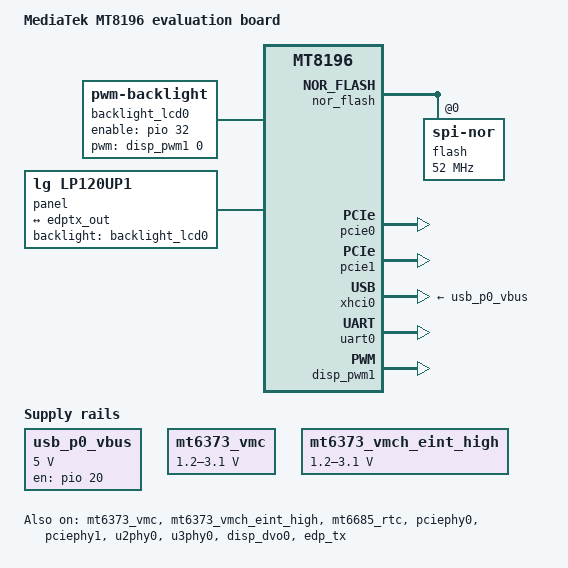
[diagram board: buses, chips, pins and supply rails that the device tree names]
// SPDX-License-Identifier: (GPL-2.0 OR MIT)
/*
 * Copyright (C) 2021 MediaTek Inc.
 * Author: Seiya Wang <seiya.wang@mediatek.com>
 */
/dts-v1/;
#include "mt8196.dtsi"
#include "mt6316.dtsi"
#include "mt6363.dtsi"
#include "mt6373.dtsi"
#include "mt6685.dtsi"
#include <dt-bindings/gpio/gpio.h>

/ {
	model = "MediaTek MT8196 evaluation board";
	compatible = "mediatek,mt8196-evb", "mediatek,mt8196";

	backlight_lcd0: backlight-lcd0 {
		compatible = "pwm-backlight";
		brightness-levels = <0 1023>;
		default-brightness-level = <576>;
		enable-gpios = <&pio 32 GPIO_ACTIVE_HIGH>;
		num-interpolated-steps = <1023>;
		pwms = <&disp_pwm1 0 500000>;
	};

	/* chosen */
	chosen: chosen {
		stdout-path = "serial0:115200n8";
	};

	panel: panel {
		compatible = "lg,lp120up1";
		pinctrl-names = "default";
		pinctrl-0 = <&panel_fixed_pins>;
		backlight = <&backlight_lcd0>;

		port {
			panel_edp_in: endpoint {
				remote-endpoint = <&edptx_out>;
			};
		};
	};

	usb_p0_vbus: regulator@0 {
		compatible = "regulator-fixed";
		regulator-name = "vbus";
		regulator-min-microvolt = <5000000>;
		regulator-max-microvolt = <5000000>;
		gpio = <&pio 20 GPIO_ACTIVE_HIGH>;
		enable-active-high;
	};
};

&main_pmic {
	pmic-lvsys-notify {
		compatible = "mediatek,mt6363-lvsys-notify";
	};
};

&mt6363_vbuck1 {
	regulator-always-on;
};

&mt6363_vbuck2 {
	regulator-always-on;
};

&mt6363_vbuck4 {
	regulator-always-on;
};

&mt6363_vbuck5 {
	regulator-always-on;
};

&mt6363_vbuck6 {
	regulator-always-on;
};

&mt6363_vsram_digrf {
	regulator-always-on;
};

&mt6363_vsram_modem {
	regulator-always-on;
};

&mt6363_vsram_cpub {
	regulator-always-on;
};

&mt6363_vsram_cpul {
	regulator-always-on;
};

&mt6363_vsram_apu {
	regulator-always-on;
};

&mt6363_vsram_mdfe {
	regulator-always-on;
};

&mt6363_vcn15 {
	regulator-always-on;
};

&mt6363_vemc {
	regulator-always-on;
};

&mt6363_vufs12 {
	regulator-always-on;
};

&mt6363_vufs18 {
	regulator-always-on;
};

&mt6363_vm18 {
	regulator-always-on;
};

&mt6363_vrf12 {
	regulator-always-on;
};

&mt6373_vbuck2 {
	regulator-always-on;
};

&mt6373_vbuck4 {
	regulator-always-on;
};

&mt6373_vbuck5 {
	regulator-always-on;
};

&mt6373_vbuck6 {
	regulator-always-on;
};

&mt6373_vbuck7 {
	regulator-always-on;
};

&mt6373_vbuck0 {
	/delete-property/ regulator-always-on;
};

&mt6373_vbuck8 {
	/delete-property/ regulator-always-on;
};

&mt6373_vbuck4_ufs {
	status = "disabled";
};

&mt6373_vmc {
	regulator-min-microvolt = <1200000>;
	regulator-max-microvolt = <3100000>;
	status = "okay";
};

&mt6373_vmch_eint_high {
	regulator-min-microvolt = <1200000>;
	regulator-max-microvolt = <3100000>;
	status = "okay";
};

&mt6373_vrfio18_aif {
	regulator-always-on;
};

&mt6685_rtc {
	status = "okay";
};

&mt6363_vbuck1_sshub {
	status = "disabled";
};

&mt6363_vbuck2_sshub {
	status = "disabled";
};

&mt6363_vbuck4_sshub {
	status = "disabled";
};

&mt6373_vmch_eint_low {
	status = "disabled";
};

&mt6373_vmch {
	status = "disabled";
};


&nor_flash {
	pinctrl-names = "default";
	pinctrl-0 = <&nor_pins_default>;
	#address-cells = <1>;
	#size-cells = <0>;
	status = "okay";

	flash@0 {
		compatible = "jedec,spi-nor";
		reg = <0>;
		spi-max-frequency = <52000000>;
	};
};

&pcie0 {
	pinctrl-names = "default";
	pinctrl-0 = <&pcie0_pins_default>;
	status = "okay";
};

&pcie1 {
	pinctrl-names = "default";
	pinctrl-0 = <&pcie1_pins_default>;
	status = "okay";
};

&pciephy0 {
	status = "okay";
};

&pciephy1 {
	status = "okay";
};

&pio {
	nor_pins_default: nor-default-pins {
		pins0 {
			pinmux = <PINMUX_GPIO102__FUNC_SF_CK>;
			bias-pull-down = <MTK_PULL_SET_RSEL_000>;
			mediatek,drive-strength-adv = <0>;
			drive-strength = <14>;
		};

		pins1 {
			pinmux = <PINMUX_GPIO101__FUNC_SF_CS>;
			bias-pull-up = <MTK_PULL_SET_RSEL_000>;
			mediatek,drive-strength-adv = <0>;
			drive-strength = <14>;
		};

		pins2 {
			pinmux = <PINMUX_GPIO91__FUNC_SF_D0>,
				 <PINMUX_GPIO92__FUNC_SF_D1>;
			bias-pull-down;
			drive-strength = <14>;
		};
	};

	xhci0_pins_default: xhci0-default-pins {
		pins-cmd-dat {
			pinmux = <PINMUX_GPIO72__FUNC_GPIO72>;
			output-high;
		};
	};

	pcie0_pins_default: pcie0-default {
		pins-cmd-dat {
			pinmux = <PINMUX_GPIO241__FUNC_PCIE_PERSTN>,
				 <PINMUX_GPIO242__FUNC_PCIE_WAKEN>,
				 <PINMUX_GPIO243__FUNC_PCIE_CLKREQN>;
			bias-pull-up;
		};
	};

	pcie1_pins_default: pcie1-default {
		pins-cmd-dat {
			pinmux = <PINMUX_GPIO145__FUNC_PCIE_WAKEN_1P>,
				 <PINMUX_GPIO146__FUNC_PCIE_PERSTN_1P>,
				 <PINMUX_GPIO147__FUNC_PCIE_CLKREQN_1P>;
			bias-pull-up = <MTK_PUPD_SET_R1R0_01>;
		};
	};
};

&xhci0 {
	pinctrl-names = "default";
	pinctrl-0 = <&xhci0_pins_default>;
	vbus-supply = <&usb_p0_vbus>;
	status = "okay";
};

&u2phy0 {
	status = "okay";
};

&u3phy0 {
	status = "okay";
};

&uart0 {
	status = "okay";
};

&disp_dvo0 {
	status = "okay";

	port {
		disp_dvo0_out: endpoint {
			remote-endpoint = <&edptx_in>;
		};
	};
};

&edp_tx {
	pinctrl-names = "default";
	pinctrl-0 = <&edp_hpd_pins>;
	max-lane-count = <4>;
	max-linkrate-mhz = <8100>;
	use-edid;

	status = "okay";

	ports {
		#address-cells = <1>;
		#size-cells = <0>;

		port@0 {
			reg = <0>;

			edptx_in: endpoint {
				remote-endpoint = <&disp_dvo0_out>;
			};
		};

		port@1 {
			reg = <1>;

			edptx_out: endpoint {
				remote-endpoint = <&panel_edp_in>;
			};
		};
	};
};

&disp_pwm1 {
	status = "okay";

	pinctrl-names = "default";
	pinctrl-0 = <&disp_pwm1_pin_default>;
};

&pio {
	edp_hpd_pins: edp-hpd-pins {
		pins1 {
			pinmux = <PINMUX_GPIO13__FUNC_EDP_TX_HPD>;
			bias-pull-up;
		};
	};

	disp_pwm1_pin_default: disp-pwm1-default-pins {
		pins-disp-pwm {
			pinmux = <PINMUX_GPIO4__FUNC_DISP_PWM1>;
		};
	};

	panel_fixed_pins: panel-fixed-pins {
		pins1 {
			pinmux = <PINMUX_GPIO26__FUNC_GPIO26>,
			<PINMUX_GPIO33__FUNC_GPIO33>;
			bias-pull-up;
			output-high;
		};
	};
};

